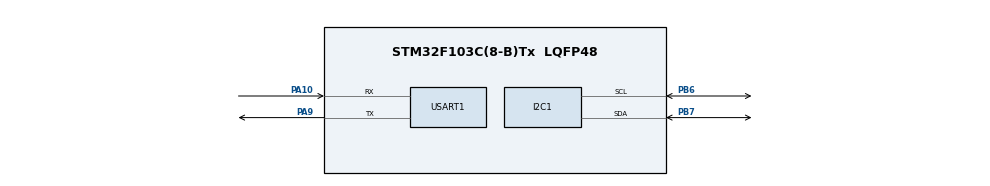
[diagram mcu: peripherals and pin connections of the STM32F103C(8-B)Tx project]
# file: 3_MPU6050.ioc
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Mcu.Family=STM32F1
RCC.APB2Freq_Value=8000000
PD1-OSC_OUT.Mode=HSE-External-Oscillator
PA10.Mode=Asynchronous
PA14.Mode=Serial_Wire
PB7.Signal=I2C1_SDA
PA13.Mode=Serial_Wire
Mcu.Name=STM32F103C(8-B)Tx
PD0-OSC_IN.Signal=RCC_OSC_IN
Mcu.Package=LQFP48
ProjectManager.StackSize=0x400
PD1-OSC_OUT.Signal=RCC_OSC_OUT
PA13.Signal=SYS_JTMS-SWDIO
USART1.VirtualMode=VM_ASYNC
PB7.Mode=I2C
PA9.Mode=Asynchronous
PA10.Signal=USART1_RX
PA14.Signal=SYS_JTCK-SWCLK
ProjectManager.HeapSize=0x200
ProjectManager.TargetToolchain=STM32CubeIDE
NVIC.PriorityGroup=NVIC_PRIORITYGROUP_4
PA9.Signal=USART1_TX
PB6.Signal=I2C1_SCL
PB6.Mode=I2C
RCC.APB1Freq_Value=8000000
PD0-OSC_IN.Mode=HSE-External-Oscillator
board=custom

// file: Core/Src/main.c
/* USER CODE BEGIN Header */
/**
 ******************************************************************************
 * @file           : main.c
 * @brief          : Main program body
 ******************************************************************************
 * @attention
 *
 * <h2><center>&copy; Copyright (c) 2021 STMicroelectronics.
 * All rights reserved.</center></h2>
 *
 * This software component is licensed by ST under BSD 3-Clause license,
 * the "License"; You may not use this file except in compliance with the
 * License. You may obtain a copy of the License at:
 *                        opensource.org/licenses/BSD-3-Clause
 *
 ******************************************************************************
 */
/* USER CODE END Header */
#include "main.h"

/* USER CODE BEGIN Includes */
#include "mpu6050.h"
#include "Uart.h"
/* USER CODE END Includes */

/* USER CODE BEGIN PD */
#define READ 0
#define WRITE 1
//#define DEVIDEADDRESS 0x68
/* USER CODE END PD */

I2C_HandleTypeDef hi2c1;

UART_HandleTypeDef huart1;

/* USER CODE BEGIN PV */
uint8_t check;
int16_t ax_raw, ay_raw, az_raw, gx_raw, gy_raw, gz_raw;
float ax, ay, az, gx, gy, gz,temp;
/* USER CODE END PV */

void SystemClock_Config(void);
static void MX_GPIO_Init(void);
static void MX_I2C1_Init(void);
static void MX_USART1_UART_Init(void);

int main(void) {

	/* MCU Configuration--------------------------------------------------------*/

	/* Reset of all peripherals, Initializes the Flash interface and the Systick. */
	HAL_Init();

	/* Configure the system clock */
	SystemClock_Config();

	/* Initialize all configured peripherals */
	MX_GPIO_Init();
	MX_I2C1_Init();
	MX_USART1_UART_Init();
	/* USER CODE BEGIN 2 */

	initI2C(hi2c1);
	initialize();

<<<<<<< HEAD
	while(!deviceIsAvailable());
	/* USER CODE END 2 */

	/* Infinite loop */
	while (1) {

		/* USER CODE BEGIN 3 */
		getMotion6(&ax_raw, &ay_raw, &az_raw, &gx_raw, &gy_raw, &gz_raw);
		ax = ax_raw / 16384.0f;
		ay = ay_raw / 16384.0f;
		az = az_raw / 16384.0f;

		gx = gx_raw / 131.0f;
		gy = gy_raw / 131.0f;
		gz = gz_raw / 131.0f;
=======
    /* USER CODE BEGIN 3 */
	//  HAL_I2C_R
	 // HAL_I2C_Mem_Read(&hi2c1, MPU6050_ADDRESS<<1, 0x75, 1, &check, 1, 1000);
	  while(!deviceIsAvailable()){}

		//  uint8_t dBytePwr = i2cReadByte(MPU6050_ADDRESS, MPU6050_RA_PWR_MGMT_1, 1000, hi2c1);
		  HAL_Delay(1);
		  getMotion6(&ax_raw, &ay_raw, &az_raw, &gx_raw, &gy_raw, &gz_raw);
		  ax = ax_raw/16384.0f;
		  ay = ay_raw/16384.0f;
		  az = az_raw/16384.0f;

		  gx = gx_raw/131.0f;
		  gy = gy_raw/131.0f;
		  gz = gz_raw/131.0f;
	//  HAL_I2C_Mem_Write(&hi2c1, DEVIDEADDRESS<<1|WRITE, 0x6B, 1, , Size, Timeout)
>>>>>>> 8121561a1ff12e5ce55577bf8bd42b5600f67899

		temp = getTemperature();
		HAL_Delay(1000);
	}
	/* USER CODE END 3 */
}

void SystemClock_Config(void) {
	RCC_OscInitTypeDef RCC_OscInitStruct = { 0 };
	RCC_ClkInitTypeDef RCC_ClkInitStruct = { 0 };

	/** Initializes the RCC Oscillators according to the specified parameters
	 * in the RCC_OscInitTypeDef structure.
	 */
	RCC_OscInitStruct.OscillatorType = RCC_OSCILLATORTYPE_HSI;
	RCC_OscInitStruct.HSIState = RCC_HSI_ON;
	RCC_OscInitStruct.HSICalibrationValue = RCC_HSICALIBRATION_DEFAULT;
	RCC_OscInitStruct.PLL.PLLState = RCC_PLL_NONE;
	if (HAL_RCC_OscConfig(&RCC_OscInitStruct) != HAL_OK) {
		Error_Handler();
	}
	/** Initializes the CPU, AHB and APB buses clocks
	 */
	RCC_ClkInitStruct.ClockType = RCC_CLOCKTYPE_HCLK | RCC_CLOCKTYPE_SYSCLK
			| RCC_CLOCKTYPE_PCLK1 | RCC_CLOCKTYPE_PCLK2;
	RCC_ClkInitStruct.SYSCLKSource = RCC_SYSCLKSOURCE_HSI;
	RCC_ClkInitStruct.AHBCLKDivider = RCC_SYSCLK_DIV1;
	RCC_ClkInitStruct.APB1CLKDivider = RCC_HCLK_DIV1;
	RCC_ClkInitStruct.APB2CLKDivider = RCC_HCLK_DIV1;

	if (HAL_RCC_ClockConfig(&RCC_ClkInitStruct, FLASH_LATENCY_0) != HAL_OK) {
		Error_Handler();
	}
}

static void MX_I2C1_Init(void) {

	hi2c1.Instance = I2C1;
	hi2c1.Init.ClockSpeed = 100000;
	hi2c1.Init.DutyCycle = I2C_DUTYCYCLE_2;
	hi2c1.Init.OwnAddress1 = 0;
	hi2c1.Init.AddressingMode = I2C_ADDRESSINGMODE_7BIT;
	hi2c1.Init.DualAddressMode = I2C_DUALADDRESS_DISABLE;
	hi2c1.Init.OwnAddress2 = 0;
	hi2c1.Init.GeneralCallMode = I2C_GENERALCALL_DISABLE;
	hi2c1.Init.NoStretchMode = I2C_NOSTRETCH_DISABLE;
	if (HAL_I2C_Init(&hi2c1) != HAL_OK) {
		Error_Handler();
	}

}

static void MX_USART1_UART_Init(void) {

	huart1.Instance = USART1;
	huart1.Init.BaudRate = 115200;
	huart1.Init.WordLength = UART_WORDLENGTH_8B;
	huart1.Init.StopBits = UART_STOPBITS_1;
	huart1.Init.Parity = UART_PARITY_NONE;
	huart1.Init.Mode = UART_MODE_TX_RX;
	huart1.Init.HwFlowCtl = UART_HWCONTROL_NONE;
	huart1.Init.OverSampling = UART_OVERSAMPLING_16;
	if (HAL_UART_Init(&huart1) != HAL_OK) {
		Error_Handler();
	}

}

static void MX_GPIO_Init(void) {

	/* GPIO Ports Clock Enable */
	__HAL_RCC_GPIOD_CLK_ENABLE();
	__HAL_RCC_GPIOA_CLK_ENABLE();
	__HAL_RCC_GPIOB_CLK_ENABLE();

}

void Error_Handler(void) {
	__disable_irq();
	while (1) {
	}
}

/************************ (C) COPYRIGHT STMicroelectronics *****END OF FILE****/
